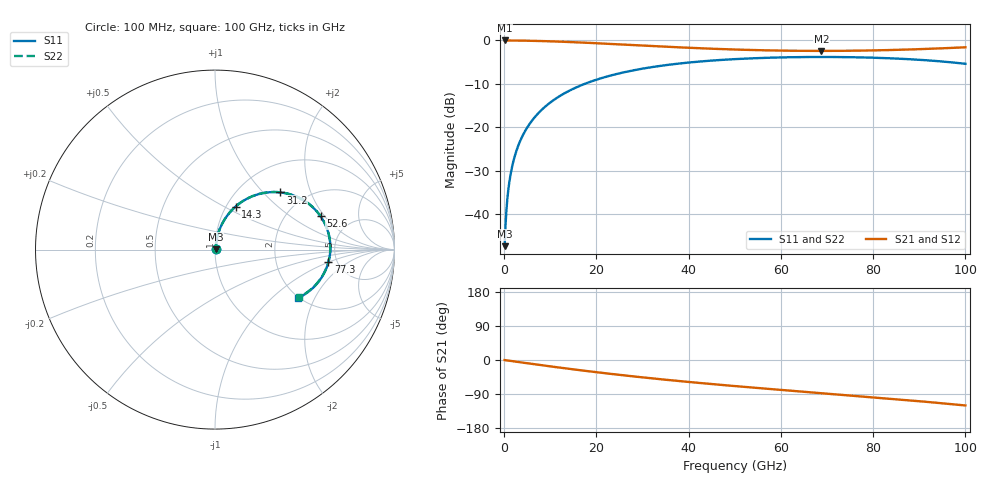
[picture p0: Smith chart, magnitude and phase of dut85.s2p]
! Touchstone file exported from HFSS 2026.1.0
!  File:  C:/ffzhzh/LocalFiles/Ansys_Project_Files/temp_train_RDL_85_1783498862_9504.aedt
!  Generated:  04:22:10 PM Jul  8, 2026
!  Design:  RDL
!  Project:  temp_train_RDL_85_1783498862_9504
! Variables:
!  h_bsmrdl = 2um
!  h_ox = 20um
!  h_rdl = 5um
!  h_sub = 80um
!  h_tmrdl = 2.71um
!  h_tsv = 80um
!  h_via = 3um
!  l_bsmrdl = 300um
!  l_sub = 814.46um
!  l_tmrdl = 414.46um
!  m_sub = 200um
!  pitch = 44.8um
!  r_tsv = 6um
!  s_tmrdl = 10um
!  w_bsmrdl = 18um
!  w_sub = 500um
!  w_tmrdl = 15.39um
!  x_tsv_center1 = 422.155um
!  x_tsv_center2 = 740.155um
!  x_tsv_center3 = 1170.005um
!  x_tsv_center4 = 1488.005um
!  x_tsv_center5 = 1917.855um
!  x_tsv_center6 = 2235.855um
# GHz S MA R 50.000000
! Terminal data exported
! Port[1] = TM_RDL1_1_T1
! Port[2] = TM_RDL1_1_T2
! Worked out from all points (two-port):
!   1000 points, 100 MHz to 100 GHz, reference 50 ohm
!   highest |S21| = -0.03 dB at 100 MHz (marker M1); lowest = -2.4 dB at 68.8 GHz (marker M2)
!   |S21| within 3 dB of the highest: start of sweep to end of sweep
!   lowest |S11| = -47.4 dB at 100 MHz (marker M3), VSWR 1.01, Z = 50.4 + j0.214 ohm
!   |S11| at or under -10 dB: start of sweep to 17.54 GHz
!   |S22| runs from -47.4 to -3.8 dB; largest |S21 - S12| = 1.6e-14
!   S11 on the Smith chart (normalised r, x): 100 MHz: 1.01, +0.00; 14.3 GHz: 1.10, +0.57; 31.2 GHz: 1.51, +1.26; 52.6 GHz: 3.04, +1.82; 77.3 GHz: 4.24, -1.00; 100 GHz: 1.98, -1.50
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0.1  0.004256 30.0  0.9963 -0.2  0.9963 -0.2  0.004256 30.0
! Gamma 0 0 0 0
! Port Impedance 50 0 50 0
0.4  0.009275 64.3  0.996 -0.7  0.996 -0.7  0.009275 64.3
0.9  0.01891 75.3  0.9955 -1.6  0.9955 -1.6  0.01891 75.3
1.4  0.02864 78.5  0.9951 -2.4  0.9951 -2.4  0.02864 78.5
1.9  0.03844 79.8  0.9946 -3.3  0.9946 -3.3  0.03844 79.8
2.4  0.04826 80.2  0.9941 -4.1  0.9941 -4.1  0.04826 80.2
3.7  0.07373 79.7  0.9922 -6.3  0.9922 -6.3  0.07373 79.7
5.5  0.1086 77.6  0.9885 -9.4  0.9885 -9.4  0.1086 77.7
7.9  0.1539 74.2  0.9816 -13.4  0.9816 -13.4  0.1539 74.2
10.8  0.2063 69.8  0.9709 -18.1  0.9709 -18.1  0.2063 69.8
14.3  0.2655 64.5  0.9553 -23.6  0.9553 -23.6  0.2655 64.5
16.8  0.305 60.7  0.9428 -27.4  0.9428 -27.4  0.305 60.8
23.3  0.3958 51.5  0.9075 -36.9  0.9075 -36.9  0.3958 51.6
31.2  0.4835 41.2  0.8639 -47.4  0.8639 -47.4  0.4835 41.4
33.4  0.5037 38.5  0.8523 -50.1  0.8523 -50.1  0.5037 38.7
50.1  0.6076 20.1  0.783 -68.9  0.783 -68.9  0.6075 20.3
52.6  0.6166 17.5  0.7761 -71.5  0.7761 -71.5  0.6166 17.7
66.7  0.6426 3.8  0.7555 -85.4  0.7555 -85.4  0.6426 4.1
68.8  0.643 1.8  0.7552 -87.4  0.7552 -87.4  0.643 2.1
77.3  0.6359 -6.4  0.761 -95.7  0.761 -95.7  0.6359 -6.0
83.4  0.6216 -12.4  0.7722 -101.8  0.7722 -101.8  0.6215 -12.0
100  0.5364 -30.1  0.8308 -120.0  0.8308 -120.0  0.5364 -29.7
